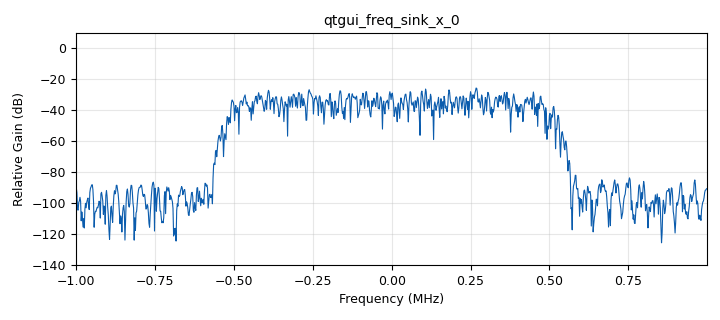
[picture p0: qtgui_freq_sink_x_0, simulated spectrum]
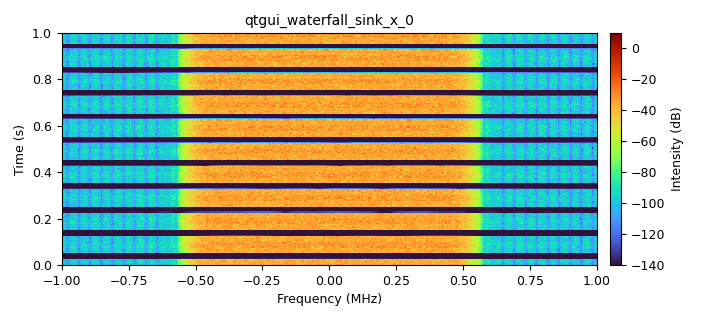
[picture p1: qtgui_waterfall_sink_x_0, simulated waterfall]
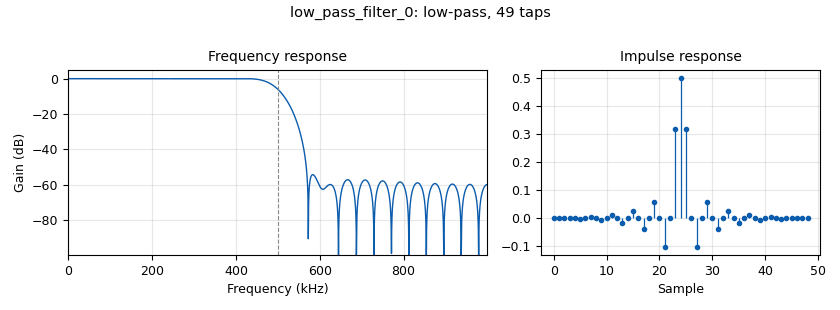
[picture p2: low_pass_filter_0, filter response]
options:
  parameters:
    generate_options: qt_gui
    id: pakalMARZO
    output_language: python
    title: Not titled yet
  states: {}

blocks:
- name: samp_rate
  id: variable
  parameters:
    value: '2000000'
  states: {}
- name: analog_noise_source_x_0
  id: analog_noise_source_x
  parameters:
    amp: '1'
    noise_type: analog.GR_GAUSSIAN
    seed: '0'
    type: complex
  states: {}
- name: analog_sig_source_x_0
  id: analog_sig_source_x
  parameters:
    amp: '1'
    freq: '10'
    offset: '0'
    phase: '0'
    samp_rate: samp_rate
    type: complex
    waveform: analog.GR_SQR_WAVE
  states: {}
- name: blocks_multiply_const_vxx_0
  id: blocks_multiply_const_vxx
  parameters:
    const: '1'
    type: complex
  states: {}
- name: blocks_multiply_xx_0
  id: blocks_multiply_xx
  parameters:
    type: complex
  states: {}
- name: blocks_throttle_0
  id: blocks_throttle
  parameters:
    samples_per_second: samp_rate
    type: complex
  states: {}
- name: low_pass_filter_0
  id: low_pass_filter
  parameters:
    cutoff_freq: '500000'
    decim: '1'
    gain: '1'
    samp_rate: samp_rate
    type: fir_filter_ccf
    width: '100000'
    win: window.WIN_HAMMING
  states: {}
- name: qtgui_freq_sink_x_0
  id: qtgui_freq_sink_x
  parameters:
    bw: samp_rate
    fc: '0'
    fftsize: '1024'
    type: complex
  states: {}
- name: qtgui_waterfall_sink_x_0
  id: qtgui_waterfall_sink_x
  parameters:
    bw: samp_rate
    fc: '0'
    fftsize: '1024'
    type: complex
  states: {}

connections:
- [analog_noise_source_x_0, '0', low_pass_filter_0, '0']
- [analog_sig_source_x_0, '0', blocks_multiply_xx_0, '1']
- [blocks_multiply_const_vxx_0, '0', blocks_throttle_0, '0']
- [blocks_multiply_xx_0, '0', blocks_multiply_const_vxx_0, '0']
- [blocks_throttle_0, '0', qtgui_freq_sink_x_0, '0']
- [blocks_throttle_0, '0', qtgui_waterfall_sink_x_0, '0']
- [low_pass_filter_0, '0', blocks_multiply_xx_0, '0']

metadata:
  file_format: 1
